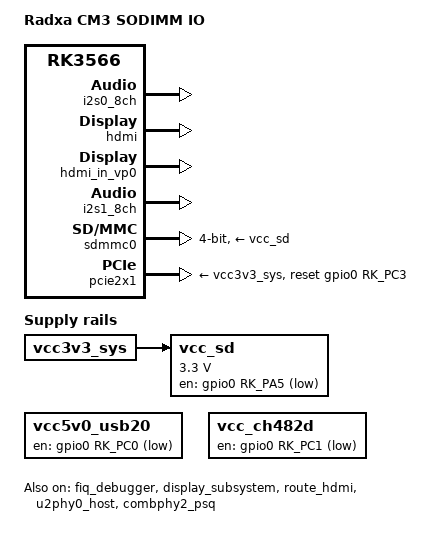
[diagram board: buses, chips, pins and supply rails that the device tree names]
// SPDX-License-Identifier: (GPL-2.0+ OR MIT)
/*
 * Copyright (c) 2022 Rockchip Electronics Co., Ltd.
 * Copyright (c) 2022 Radxa Limited.
 *
 */

/dts-v1/;

#include <dt-bindings/display/rockchip_vop.h>
#include "rk3566-radxa-cm3s.dtsi"

/ {
	model = "Radxa CM3 SODIMM IO";
	compatible = "radxa,cm3s-io", "radxa,cm3s", "rockchip,rk3566";

	hdmi_sound: hdmi-sound {
		compatible = "simple-audio-card";
		simple-audio-card,format = "i2s";
		simple-audio-card,mclk-fs = <128>;
		simple-audio-card,name = "rockchip-hdmi0";

		simple-audio-card,cpu {
				sound-dai = <&i2s0_8ch>;
		};
		simple-audio-card,codec {
				sound-dai = <&hdmi>;
		};
	};

	vcc5v0_usb20: vcc5v0-usb20-regulator {
		compatible = "regulator-fixed";
		enable-active-low;
		gpio = <&gpio0 RK_PC0 GPIO_ACTIVE_LOW>;
		pinctrl-names = "default";
		pinctrl-0 = <&vcc5v0_usb20_en>;
		regulator-name = "vcc5v0_usb20";
		regulator-always-on;
		regulator-boot-on;
	};

	vcc_sd: sdmmc-regulator {
		compatible = "regulator-fixed";
		gpio = <&gpio0 RK_PA5 GPIO_ACTIVE_LOW>;
		pinctrl-names = "default";
		pinctrl-0 = <&sdmmc_pwren>;
		regulator-name = "vcc_sd";
		regulator-min-microvolt = <3300000>;
		regulator-max-microvolt = <3300000>;
		startup-delay-us = <100000>;
		vin-supply = <&vcc3v3_sys>;
	};

	vcc_ch482d: vcc-ch482d {
		compatible = "regulator-fixed";
		enable-active-low;
		gpio = <&gpio0 RK_PC1 GPIO_ACTIVE_LOW>;
		pinctrl-names = "default";
		pinctrl-0 = <&ch482d_en>;
		regulator-name = "vcc_ch482d";
		regulator-always-on;
		regulator-boot-on;
	};
};

&gpio_leds {
	board-led {
		gpios = <&gpio4 RK_PC6 GPIO_ACTIVE_HIGH>;
		pinctrl-0 = <&board_led>;
		linux,default-trigger = "heartbeat";
	};

	sata2-led {
		gpios = <&gpio0 RK_PC2 GPIO_ACTIVE_HIGH>;
		pinctrl-0 = <&sata2_led>;
		linux,default-trigger = "disk-activity";
		trigger-sources = <&sata2>;
	};
};

&fiq_debugger {
	status = "okay";
};

&gpio0 {
	gpio-line-names =
		/* GPIO0_A0-A3 */
		"", "", "", "",
		/* GPIO0_A4-A7 */
		"", "", "", "",

		/* GPIO0_B0-B3 */
		"", "", "", "PIN_5",
		/* GPIO0_B4-B7 */
		"PIN_3", "PIN_13", "PIN_37", "PIN_32",

		/* GPIO0_C0-C3 */
		"", "", "", "",
		/* GPIO0_C4-C7 */
		"PIN_16", "PIN_22", "PIN_18", "",

		/* GPIO0_D0-D3 */
		"PIN_10", "PIN_8", "", "",
		/* GPIO0_D4-D7 */
		"", "", "", "";
};

&gpio1 {
	gpio-line-names =
		/* GPIO1_A0-A3 */
		"", "", "", "",
		/* GPIO1_A4-A7 */
		"", "", "", "",

		/* GPIO1_B0-B3 */
		"", "", "", "",
		/* GPIO1_B4-B7 */
		"", "", "", "",

		/* GPIO1_C0-C3 */
		"", "", "", "",
		/* GPIO1_C4-C7 */
		"", "", "", "",

		/* GPIO1_D0-D3 */
		"", "", "", "",
		/* GPIO1_D4-D7 */
		"", "", "", "";
};

&gpio2 {
	gpio-line-names =
		/* GPIO2_A0-A3 */
		"", "", "", "",
		/* GPIO2_A4-A7 */
		"", "", "", "",

		/* GPIO2_B0-B3 */
		"", "", "", "",
		/* GPIO2_B4-B7 */
		"", "", "", "",

		/* GPIO2_C0-C3 */
		"", "", "", "",
		/* GPIO2_C4-C7 */
		"", "", "", "",

		/* GPIO2_D0-D3 */
		"", "", "", "",
		/* GPIO2_D4-D7 */
		"", "", "", "";
};

&gpio3 {
	gpio-line-names =
		/* GPIO3_A0-A3 */
		"", "PIN_12", "", "",
		/* GPIO3_A4-A7 */
		"", "", "", "",

		/* GPIO3_B0-B3 */
		"", "", "", "",
		/* GPIO3_B4-B7 */
		"", "", "", "",

		/* GPIO3_C0-C3 */
		"", "PIN_38", "PIN_35", "PIN_40",
		/* GPIO3_C4-C7 */
		"", "", "", "",

		/* GPIO3_D0-D3 */
		"", "", "", "",
		/* GPIO3_D4-D7 */
		"PIN_7", "PIN_31", "", "";
};

&gpio4 {
	gpio-line-names =
		/* GPIO4_A0-A3 */
		"PIN_15", "", "PIN_36", "PIN_11",
		/* GPIO4_A4-A7 */
		"", "", "PIN_24", "PIN_26",

		/* GPIO4_B0-B3 */
		"PIN_21", "", "PIN_19", "PIN_23",
		/* GPIO4_B4-B7 */
		"PIN_27", "PIN_28", "", "PIN_29",

		/* GPIO4_C0-C3 */
		"PIN_33", "", "", "",
		/* GPIO4_C4-C7 */
		"", "", "", "",

		/* GPIO4_D0-D3 */
		"", "", "", "",
		/* GPIO4_D4-D7 */
		"", "", "", "";
};

&i2s0_8ch {
	status = "okay";
};

&display_subsystem {
    status = "okay";
};

&hdmi {
	status = "okay";
	preset_max_hdisplay = <1920>;
	preset_max_vdisplay = <1080>;
};

&hdmi_in_vp0 {
	status = "okay";
};

&hdmi_in_vp1 {
	status = "disabled";
};

&hdmi_sound {
	status = "okay";
};

&route_hdmi {
	status = "okay";
	connect = <&vp0_out_hdmi>;
};

&rk817_sound {
	status = "disabled";
};

&i2s1_8ch {
	status = "okay";
};

&sdmmc0 {
	max-frequency = <150000000>;
	supports-sd;
	no-sdio;
	no-mmc;
	bus-width = <4>;
	cap-mmc-highspeed;
	cap-sd-highspeed;
	disable-wp;
	num-slots = <1>;
	sd-uhs-sdr104;
	vmmc-supply = <&vcc_sd>;
	vqmmc-supply = <&vccio_sd>;
	pinctrl-names = "default";
	pinctrl-0 = <&sdmmc0_bus4 &sdmmc0_clk &sdmmc0_cmd &sdmmc0_det>;
	status = "okay";
};

&u2phy0_host {
	phy-supply = <&vcc5v0_usb20>;
	status = "okay";
};

&combphy2_psq {
	status = "okay";
};

&pcie2x1 {
	reset-gpios = <&gpio0 RK_PC3 GPIO_ACTIVE_HIGH>;
	vpcie3v3-supply = <&vcc3v3_sys>;
	pinctrl-0 = <&pcie20m2_pins>;
	status = "okay";
};

&sata2 {
	status = "disabled";
};

&rockchip_suspend {
	status = "okay";
	rockchip,sleep-debug-en = <1>;
	rockchip,sleep-mode-config = <
		(0
		| RKPM_SLP_CENTER_OFF
		| RKPM_SLP_HW_PLLS_OFF
		| RKPM_SLP_PMUALIVE_32K
		| RKPM_SLP_32K_PVTM
		)
	>;
	rockchip,wakeup-config = <
		(0
		| RKPM_GPIO_WKUP_EN
		| RKPM_USB_WKUP_EN
		)
	>;
};

&pinctrl {
	usb {
		vcc5v0_usb20_en: vcc5v0-host-en {
			rockchip,pins = <0 RK_PC0 RK_FUNC_GPIO &pcfg_pull_none>;
		};
	};

	sdcard {
		sdmmc_pwren: sdmmc-pwren {
			rockchip,pins = <0 RK_PA5 RK_FUNC_GPIO &pcfg_pull_none>;
		};
	};

	ch482d {
		ch482d_en: ch482d-en {
			rockchip,pins = <0 RK_PC1 RK_FUNC_GPIO &pcfg_pull_none>;
		};
	};

	leds {
		board_led: board-led {
			rockchip,pins = <4 RK_PC6 RK_FUNC_GPIO &pcfg_pull_none>;
		};

		sata2_led: sata2-led{
			rockchip,pins = <0 RK_PC2 RK_FUNC_GPIO &pcfg_pull_none>;
		};
	};
};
